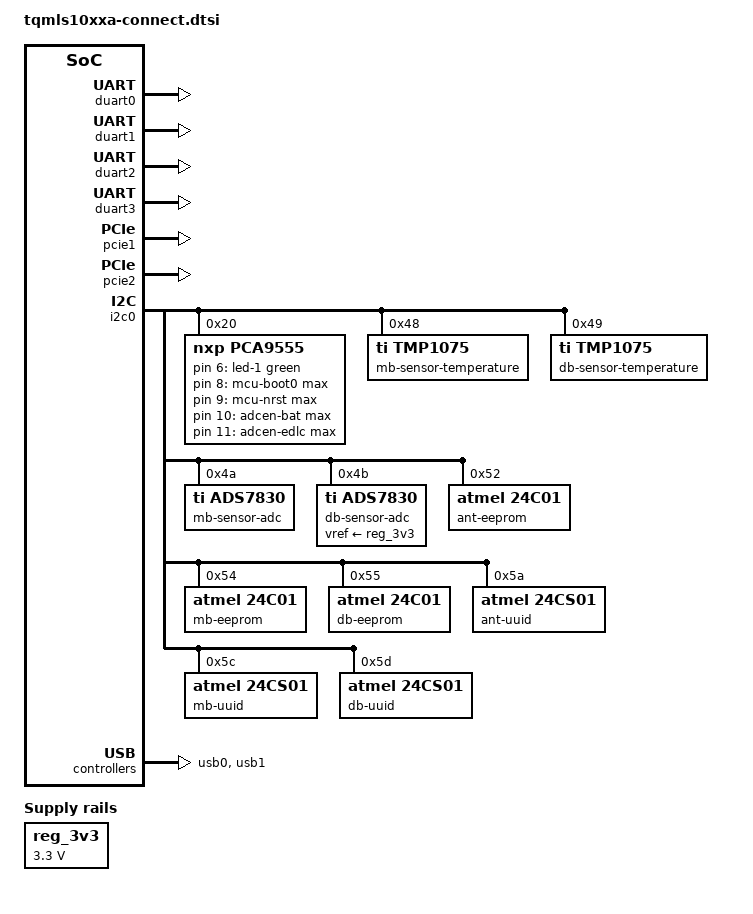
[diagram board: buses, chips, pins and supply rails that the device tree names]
#include <dt-bindings/input/input.h>
#include <dt-bindings/gpio/gpio.h>
#include <dt-bindings/leds/common.h>

/ {
	leds {
		compatible = "gpio-leds";

		led_1 {
			label = "led-1";
			gpios = <&pca9555 6 GPIO_ACTIVE_HIGH>;
			color = <LED_COLOR_ID_GREEN>;
			function = LED_FUNCTION_INDICATOR;
			default-state = "off";
			linux,default-trigger = "none";
		};

		mcu_boot0 {
			label = "mcu-boot0";
			gpios = <&pca9555 8 GPIO_ACTIVE_HIGH>;
			color = <LED_COLOR_ID_MAX>;
			function = LED_FUNCTION_BOOT;
			default-state = "off";
			linux,default-trigger = "none";
		};

		mcu_nrst {
			label = "mcu-nrst";
			gpios = <&pca9555 9 GPIO_ACTIVE_HIGH>;
			color = <LED_COLOR_ID_MAX>;
			function = LED_FUNCTION_BOOT;
			default-state = "on";
			linux,default-trigger = "none";
		};

		adcen_bat {
			label = "adcen-bat";
			gpios = <&pca9555 10 GPIO_ACTIVE_HIGH>;
			color = <LED_COLOR_ID_MAX>;
			function = LED_FUNCTION_STATUS;
			default-state = "off";
			linux,default-trigger = "none";
		};

		adcen_edlc {
			label = "adcen-edlc";
			gpios = <&pca9555 11 GPIO_ACTIVE_HIGH>;
			color = <LED_COLOR_ID_MAX>;
			function = LED_FUNCTION_STATUS;
			default-state = "off";
			linux,default-trigger = "none";
		};
	};

	reg_3v3: regulator-3v3 {
		compatible = "regulator-fixed";
		regulator-name = "V_3V3_MB";
		regulator-min-microvolt = <3300000>;
		regulator-max-microvolt = <3300000>;
		regulator-always-on;
	};
};

&duart0 {
	status = "okay";
};

&duart1 {
	status = "okay";
};

&duart2 {
	status = "okay";
};

&duart3 {
	status = "okay";
};

&pcie1 {
	status = "okay";
};

&pcie2 {
	status = "okay";
};

&i2c0 {
	status = "okay";

	pca9555: pca9555@20 {
		compatible = "nxp,pca9555";
		reg = <0x20>;
		gpio-controller;
		#gpio-cells = <2>;
	};

	tmp1075@48 {
		label = "mb-sensor-temperature";
		compatible = "ti,tmp1075";
		reg = <0x48>;
	};

	tmp1075@49 {
		label = "db-sensor-temperature";
		compatible = "ti,tmp1075";
		reg = <0x49>;
	};

	/* Internal 2.5V reference : No vref-supply */
	ads7830@4a {
		label = "mb-sensor-adc";
		compatible = "ti,ads7830";
		reg = <0x4a>;
	};

	/* External 3.3V reference: vref-supply = 3.3v */
	ads7830@4b {
		label = "db-sensor-adc";
		compatible = "ti,ads7830";
		reg = <0x4b>;
		vref-supply = <&reg_3v3>;
	};

	at24cs01@52 {
		compatible = "atmel,24c01";
		label = "ant-eeprom";
		reg = <0x52>;
	};

	at24cs01@54 {
		compatible = "atmel,24c01";
		label = "mb-eeprom";
		reg = <0x54>;
	};

	at24cs01@55 {
		compatible = "atmel,24c01";
		label = "db-eeprom";
		reg = <0x55>;
	};

	at24cs01@5a {
		compatible = "atmel,24cs01";
		label = "ant-uuid";
		reg = <0x5a>;
	};

	at24cs01@5c {
		compatible = "atmel,24cs01";
		label = "mb-uuid";
		reg = <0x5c>;
	};

	at24cs01@5d {
		compatible = "atmel,24cs01";
		label = "db-uuid";
		reg = <0x5d>;
	};
};

&usb0 {
	status = "okay";
};

&usb1 {
	status = "okay";
};
